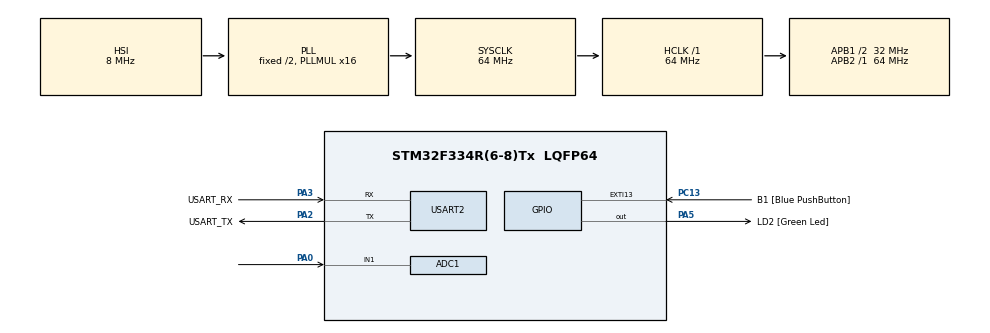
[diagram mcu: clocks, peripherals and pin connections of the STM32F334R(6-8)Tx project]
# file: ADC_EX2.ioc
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ADC1.Channel-0\#ChannelRegularConversion=ADC_CHANNEL_1
ADC1.Channel-1\#ChannelRegularConversion=ADC_CHANNEL_TEMPSENSOR
ADC1.ClockPrescaler=ADC_CLOCK_SYNC_PCLK_DIV4
ADC1.DiscontinuousConvMode=ENABLE
ADC1.NbrOfConversion=2
ADC1.NbrOfConversionFlag=1
ADC1.NbrOfDiscConversion=1
ADC1.Offset-0\#ChannelRegularConversion=0
ADC1.Offset-1\#ChannelRegularConversion=0
ADC1.OffsetNumber-0\#ChannelRegularConversion=ADC_OFFSET_NONE
ADC1.OffsetNumber-1\#ChannelRegularConversion=ADC_OFFSET_NONE
ADC1.Rank-0\#ChannelRegularConversion=1
ADC1.Rank-1\#ChannelRegularConversion=2
ADC1.SamplingTime-0\#ChannelRegularConversion=ADC_SAMPLETIME_19CYCLES_5
ADC1.SamplingTime-1\#ChannelRegularConversion=ADC_SAMPLETIME_19CYCLES_5
ADC1.SamplingTimeOPAMP-1\#ChannelRegularConversion=ADC_SAMPLETIME_7CYCLES_5
ADC1.master=1
Mcu.Family=STM32F3
Mcu.Name=STM32F334R(6-8)Tx
Mcu.Package=LQFP64
NVIC.PriorityGroup=NVIC_PRIORITYGROUP_0
PA0.Mode=IN1-Single-Ended
PA0.Signal=ADC1_IN1
PA13.GPIO_Label=TMS
PA13.Mode=Serial_Wire
PA13.Signal=SYS_JTMS-SWDIO
PA14.GPIO_Label=TCK
PA14.Mode=Serial_Wire
PA14.Signal=SYS_JTCK-SWCLK
PA2.GPIO_Label=USART_TX
PA2.Mode=Asynchronous
PA2.Signal=USART2_TX
PA3.GPIO_Label=USART_RX
PA3.Mode=Asynchronous
PA3.Signal=USART2_RX
PA5.GPIO_Label=LD2 [Green Led]
PA5.Signal=GPIO_Output
PB3.GPIO_Label=SWO
PB3.Signal=SYS_JTDO-TRACESWO
PC13.GPIO_Label=B1 [Blue PushButton]
PC13.GPIO_ModeDefaultEXTI=GPIO_MODE_IT_FALLING
PC13.Signal=GPXTI13
PC14\ /\ OSC32_IN.Signal=RCC_OSC32_IN
PC15\ /\ OSC32_OUT.GPIO_Label=RCC_OSC32_OUT
PC15\ /\ OSC32_OUT.Signal=RCC_OSC32_OUT
PF0\ /\ OSC_IN.Signal=RCC_OSC_IN
PF1\ /\ OSC_OUT.Signal=RCC_OSC_OUT
ProjectManager.HeapSize=0x200
ProjectManager.StackSize=0x400
ProjectManager.TargetToolchain=STM32CubeIDE
RCC.AHBFreq_Value=64000000
RCC.APB1CLKDivider=RCC_HCLK_DIV2
RCC.APB1Freq_Value=32000000
RCC.APB1TimFreq_Value=64000000
RCC.APB2Freq_Value=64000000
RCC.APB2TimFreq_Value=64000000
RCC.CortexFreq_Value=64000000
RCC.FLatency-AdvancedSettings=FLASH_LATENCY_2
RCC.HCLKFreq_Value=64000000
RCC.HSE_VALUE=8000000
RCC.HSI_VALUE=8000000
RCC.PLLMUL=RCC_PLL_MUL16
RCC.SYSCLKFreq_VALUE=64000000
RCC.SYSCLKSourceVirtual=RCC_SYSCLKSOURCE_PLLCLK
USART2.VirtualMode-Asynchronous=VM_ASYNC
VP_ADC1_TempSens_Input.Mode=IN-TempSens
board=NUCLEO-F334R8

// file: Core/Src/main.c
/* USER CODE BEGIN Header */
/**
  ******************************************************************************
  * @file           : main.c
  * @brief          : Main program body
  ******************************************************************************
  * @attention
  *
  * Copyright (c) 2022 STMicroelectronics.
  * All rights reserved.
  *
  * This software is licensed under terms that can be found in the LICENSE file
  * in the root directory of this software component.
  * If no LICENSE file comes with this software, it is provided AS-IS.
  *
  ******************************************************************************
  */
/* USER CODE END Header */
#include "main.h"

ADC_HandleTypeDef hadc1;

UART_HandleTypeDef huart2;

/* USER CODE BEGIN PV */
uint16_t adcVal[2];
uint8_t adcIndex;
uint16_t vol1, vol2;
float temp1, temp2;

/* USER CODE END PV */

void SystemClock_Config(void);
static void MX_GPIO_Init(void);
static void MX_USART2_UART_Init(void);
static void MX_ADC1_Init(void);

int main(void)
{

  /* MCU Configuration--------------------------------------------------------*/

  /* Reset of all peripherals, Initializes the Flash interface and the Systick. */
  HAL_Init();

  /* Configure the system clock */
  SystemClock_Config();

  /* Initialize all configured peripherals */
  MX_GPIO_Init();
  MX_USART2_UART_Init();
  MX_ADC1_Init();
  /* USER CODE BEGIN 2 */
  // Calibrate The ADC On Power-Up For Better Accuracy
  if( HAL_ADCEx_Calibration_Start(&hadc1, ADC_CHANNEL_1) != HAL_OK ){
     	  Error_Handler();
  }
  if( HAL_ADCEx_Calibration_Start(&hadc1, ADC_CHANNEL_TEMPSENSOR) != HAL_OK ){
       	  Error_Handler();
    }

  /* USER CODE END 2 */

  /* Infinite loop */
  /* USER CODE BEGIN WHILE */
  while (1)
  {
	  HAL_ADC_Start(&hadc1);
	  HAL_ADC_PollForConversion(&hadc1, HAL_MAX_DELAY);
	  adcVal[0] = HAL_ADC_GetValue(&hadc1);

	  HAL_ADC_Start(&hadc1);
	  HAL_ADC_PollForConversion(&hadc1, HAL_MAX_DELAY);
	  adcVal[1] = HAL_ADC_GetValue(&hadc1);

	  vol1 = 3000 * adcVal[0] / 4096;
	  vol2 = 3000 * adcVal[1] / 4096;

	  /* LM35DZ 온도 = 전압(mV) / 10 */
	  temp1 = vol1 / 10.0;

	  /* 내장온도센서 = (Vsens - V25) / 2.5 + 25도 */
	  temp2 = ((float)vol2 - 760.0) / 2.5 + 25.0;

	  HAL_Delay(100);

    /* USER CODE END WHILE */

  }
}

void SystemClock_Config(void)
{
  RCC_OscInitTypeDef RCC_OscInitStruct = {0};
  RCC_ClkInitTypeDef RCC_ClkInitStruct = {0};

  /** Initializes the RCC Oscillators according to the specified parameters
  * in the RCC_OscInitTypeDef structure.
  */
  RCC_OscInitStruct.OscillatorType = RCC_OSCILLATORTYPE_HSI;
  RCC_OscInitStruct.HSIState = RCC_HSI_ON;
  RCC_OscInitStruct.HSICalibrationValue = RCC_HSICALIBRATION_DEFAULT;
  RCC_OscInitStruct.PLL.PLLState = RCC_PLL_ON;
  RCC_OscInitStruct.PLL.PLLSource = RCC_PLLSOURCE_HSI;
  RCC_OscInitStruct.PLL.PLLMUL = RCC_PLL_MUL16;
  if (HAL_RCC_OscConfig(&RCC_OscInitStruct) != HAL_OK)
  {
    Error_Handler();
  }

  /** Initializes the CPU, AHB and APB buses clocks
  */
  RCC_ClkInitStruct.ClockType = RCC_CLOCKTYPE_HCLK|RCC_CLOCKTYPE_SYSCLK
                              |RCC_CLOCKTYPE_PCLK1|RCC_CLOCKTYPE_PCLK2;
  RCC_ClkInitStruct.SYSCLKSource = RCC_SYSCLKSOURCE_PLLCLK;
  RCC_ClkInitStruct.AHBCLKDivider = RCC_SYSCLK_DIV1;
  RCC_ClkInitStruct.APB1CLKDivider = RCC_HCLK_DIV2;
  RCC_ClkInitStruct.APB2CLKDivider = RCC_HCLK_DIV1;

  if (HAL_RCC_ClockConfig(&RCC_ClkInitStruct, FLASH_LATENCY_2) != HAL_OK)
  {
    Error_Handler();
  }
}

static void MX_ADC1_Init(void)
{

  ADC_MultiModeTypeDef multimode = {0};
  ADC_ChannelConfTypeDef sConfig = {0};

  /** Common config
  */
  hadc1.Instance = ADC1;
  hadc1.Init.ClockPrescaler = ADC_CLOCK_SYNC_PCLK_DIV4;
  hadc1.Init.Resolution = ADC_RESOLUTION_12B;
  hadc1.Init.ScanConvMode = ADC_SCAN_ENABLE;
  hadc1.Init.ContinuousConvMode = DISABLE;
  hadc1.Init.DiscontinuousConvMode = ENABLE;
  hadc1.Init.NbrOfDiscConversion = 1;
  hadc1.Init.ExternalTrigConvEdge = ADC_EXTERNALTRIGCONVEDGE_NONE;
  hadc1.Init.ExternalTrigConv = ADC_SOFTWARE_START;
  hadc1.Init.DataAlign = ADC_DATAALIGN_RIGHT;
  hadc1.Init.NbrOfConversion = 2;
  hadc1.Init.DMAContinuousRequests = DISABLE;
  hadc1.Init.EOCSelection = ADC_EOC_SINGLE_CONV;
  hadc1.Init.LowPowerAutoWait = DISABLE;
  hadc1.Init.Overrun = ADC_OVR_DATA_OVERWRITTEN;
  if (HAL_ADC_Init(&hadc1) != HAL_OK)
  {
    Error_Handler();
  }

  /** Configure the ADC multi-mode
  */
  multimode.Mode = ADC_MODE_INDEPENDENT;
  if (HAL_ADCEx_MultiModeConfigChannel(&hadc1, &multimode) != HAL_OK)
  {
    Error_Handler();
  }

  /** Configure Regular Channel
  */
  sConfig.Channel = ADC_CHANNEL_1;
  sConfig.Rank = ADC_REGULAR_RANK_1;
  sConfig.SingleDiff = ADC_SINGLE_ENDED;
  sConfig.SamplingTime = ADC_SAMPLETIME_19CYCLES_5;
  sConfig.OffsetNumber = ADC_OFFSET_NONE;
  sConfig.Offset = 0;
  if (HAL_ADC_ConfigChannel(&hadc1, &sConfig) != HAL_OK)
  {
    Error_Handler();
  }

  /** Configure Regular Channel
  */
  sConfig.Channel = ADC_CHANNEL_TEMPSENSOR;
  sConfig.Rank = ADC_REGULAR_RANK_2;
  if (HAL_ADC_ConfigChannel(&hadc1, &sConfig) != HAL_OK)
  {
    Error_Handler();
  }

}

static void MX_USART2_UART_Init(void)
{

  huart2.Instance = USART2;
  huart2.Init.BaudRate = 38400;
  huart2.Init.WordLength = UART_WORDLENGTH_8B;
  huart2.Init.StopBits = UART_STOPBITS_1;
  huart2.Init.Parity = UART_PARITY_NONE;
  huart2.Init.Mode = UART_MODE_TX_RX;
  huart2.Init.HwFlowCtl = UART_HWCONTROL_NONE;
  huart2.Init.OverSampling = UART_OVERSAMPLING_16;
  huart2.Init.OneBitSampling = UART_ONE_BIT_SAMPLE_DISABLE;
  huart2.AdvancedInit.AdvFeatureInit = UART_ADVFEATURE_NO_INIT;
  if (HAL_UART_Init(&huart2) != HAL_OK)
  {
    Error_Handler();
  }

}

static void MX_GPIO_Init(void)
{
  GPIO_InitTypeDef GPIO_InitStruct = {0};

  /* GPIO Ports Clock Enable */
  __HAL_RCC_GPIOC_CLK_ENABLE();
  __HAL_RCC_GPIOF_CLK_ENABLE();
  __HAL_RCC_GPIOA_CLK_ENABLE();
  __HAL_RCC_GPIOB_CLK_ENABLE();

  /*Configure GPIO pin Output Level */
  HAL_GPIO_WritePin(LD2_GPIO_Port, LD2_Pin, GPIO_PIN_RESET);

  /*Configure GPIO pin : B1_Pin */
  GPIO_InitStruct.Pin = B1_Pin;
  GPIO_InitStruct.Mode = GPIO_MODE_IT_FALLING;
  GPIO_InitStruct.Pull = GPIO_NOPULL;
  HAL_GPIO_Init(B1_GPIO_Port, &GPIO_InitStruct);

  /*Configure GPIO pin : LD2_Pin */
  GPIO_InitStruct.Pin = LD2_Pin;
  GPIO_InitStruct.Mode = GPIO_MODE_OUTPUT_PP;
  GPIO_InitStruct.Pull = GPIO_NOPULL;
  GPIO_InitStruct.Speed = GPIO_SPEED_FREQ_LOW;
  HAL_GPIO_Init(LD2_GPIO_Port, &GPIO_InitStruct);

}

void Error_Handler(void)
{
  __disable_irq();
  while (1)
  {
  }
}
